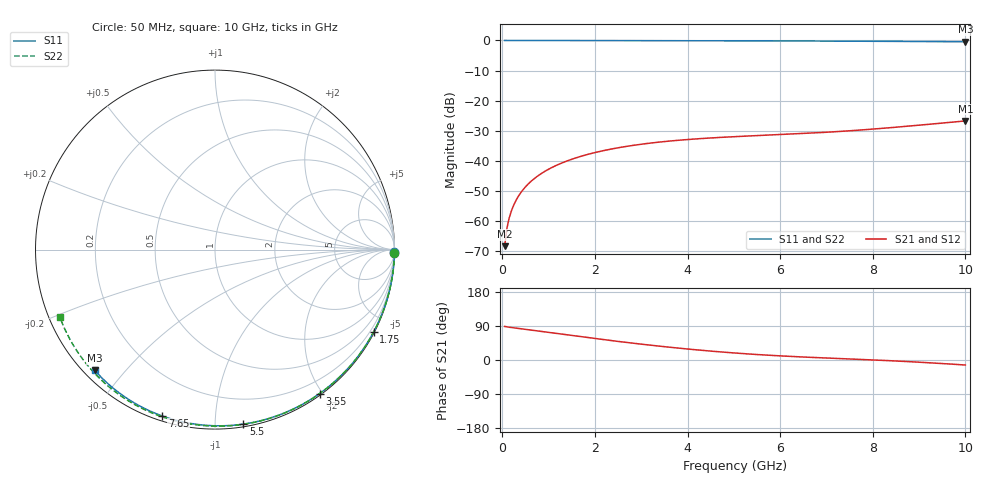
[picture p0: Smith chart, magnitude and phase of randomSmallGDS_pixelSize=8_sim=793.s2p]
! freq	dB(S11)	phase(S11)	dB(S12)	phase(S12)
!  dB(S21)	phase(S21)	dB(S22)	phase(S22)
!S-par simulation data
#  GHz  S  DB  R 50
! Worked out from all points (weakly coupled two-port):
!   200 points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, 50 MHz to 10 GHz, reference 50 ohm
!   highest |S21| = -26.76 dB at 10 GHz (marker M1); lowest = -68.4 dB at 50 MHz (marker M2)
!   lowest |S11| = -0.5 dB at 10 GHz (marker M3), VSWR 38.61, Z = 1.52 - j20.8 ohm
!   |S11| at or under -10 dB: nowhere
!   |S22| runs from -0.5 to 0.0 dB; largest |S21 - S12| = 0
!   S11 on the Smith chart (normalised r, x): 50 MHz: open; 1.75 GHz: 0.04, -4.12; 3.55 GHz: 0.02, -1.96; 5.5 GHz: 0.02, -1.18; 7.65 GHz: 0.02, -0.73; 10 GHz: 0.03, -0.42
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0.05  -0.00 -0.8  -68.40 88.6  -68.40 88.6  -0.00 -0.9
0.1  -0.00 -1.6  -62.43 87.4  -62.43 87.4  -0.00 -1.9
0.15  -0.00 -2.4  -58.97 86.4  -58.97 86.4  -0.00 -2.8
0.2  -0.00 -3.2  -56.52 85.6  -56.52 85.6  -0.00 -3.7
0.25  -0.00 -4.0  -54.61 84.8  -54.61 84.8  -0.00 -4.7
0.35  -0.00 -5.6  -51.74 83.3  -51.74 83.3  -0.00 -6.5
0.5  -0.01 -7.9  -48.68 80.9  -48.68 80.9  -0.01 -9.3
0.7  -0.01 -11.1  -45.81 77.7  -45.81 77.7  -0.01 -13.0
1  -0.02 -15.7  -42.81 72.7  -42.81 72.7  -0.02 -18.5
1.35  -0.03 -21.2  -40.34 67.0  -40.34 67.0  -0.03 -24.8
1.75  -0.04 -27.3  -38.29 60.6  -38.29 60.6  -0.04 -32.0
2.5  -0.05 -38.6  -35.68 49.0  -35.68 49.0  -0.06 -45.2
3.4  -0.07 -51.9  -33.77 36.4  -33.77 36.4  -0.08 -60.5
3.55  -0.07 -54.0  -33.54 34.5  -33.54 34.5  -0.09 -63.0
4.3  -0.09 -64.6  -32.61 25.6  -32.61 25.6  -0.11 -75.1
5.05  -0.12 -74.8  -31.96 18.2  -31.96 18.2  -0.13 -86.8
5.5  -0.13 -80.8  -31.64 14.4  -31.64 14.4  -0.15 -93.6
6.7  -0.19 -96.0  -30.78 6.8  -30.78 6.8  -0.21 -111.1
7.65  -0.24 -107.6  -29.87 2.0  -29.87 2.0  -0.28 -124.4
8.35  -0.29 -115.9  -29.04 -1.7  -29.04 -1.7  -0.34 -134.0
9.2  -0.37 -125.7  -27.89 -7.2  -27.89 -7.2  -0.42 -145.6
10  -0.45 -134.9  -26.76 -13.3  -26.76 -13.3  -0.51 -156.6
